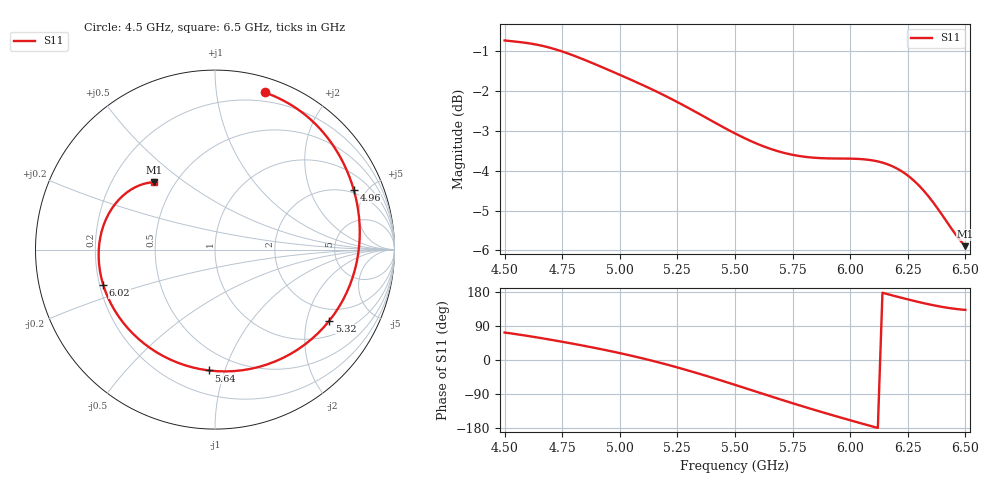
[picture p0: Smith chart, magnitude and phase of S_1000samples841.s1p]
! TOUCHSTONE file generated by CST MICROWAVE STUDIO
! Date and time: Sat Oct 29 13:54:43 2022
! Project name: L.cst
! Parameters = {Di=1.27; Epsilon_r=1.56; InnerDiameter=1.27; Length=2; Lf=10; Lg=60; OuterConductorThickness=0.2921; OuterDiameter=3.6; Wf=3; Wp=41.2; de=1.5; df=6.8; g=0.8; gx=2.17295; gy=1.41242; h=2.34; hf=1.524; px=9.63658; py=11.0431; w=9.7; wx=7.46362; wy=9.63068}
! Header version: 2018
! Port assignment regex: !\s*Touchstone port\s*([0-9]+)\s*=\s*(CST MWS port|CST DS port)\s*([0-9]+|Zmin|Zmax)\s*\(\"(.*)\"\)(\s*mode\s*([0-9]+))?.*
! Touchstone port assignment:
! Touchstone port 1 = CST MWS port 1 ("")
# GHz S DB R 50
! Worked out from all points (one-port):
!   101 points, 4.5 GHz to 6.5 GHz, reference 50 ohm
!   lowest |S11| = -5.9 dB at 6.5 GHz (marker M1), VSWR 3.06, Z = 19.2 + j19.4 ohm
!   |S11| at or under -10 dB: nowhere
!   S11 on the Smith chart (normalised r, x): 4.5 GHz: 0.12, +1.36; 4.96 GHz: 1.79, +4.10; 5.32 GHz: 1.52, -2.75; 5.64 GHz: 0.36, -0.88; 6.02 GHz: 0.21, -0.15; 6.5 GHz: 0.38, +0.39
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4.5  -0.73 72.5
4.64  -0.84 59.6
4.76  -1.03 47.0
4.86  -1.25 35.6
4.96  -1.50 23.4
5  -1.60 18.1
5.08  -1.80 7.0
5.14  -1.96 -1.9
5.2  -2.13 -11.4
5.26  -2.31 -21.4
5.32  -2.50 -31.9
5.42  -2.82 -50.3
5.5  -3.07 -65.6
5.56  -3.23 -77.3
5.64  -3.42 -92.9
5.7  -3.53 -104.5
5.76  -3.61 -115.9
5.88  -3.69 -138.0
5.94  -3.70 -148.6
6  -3.70 -159.0
6.02  -3.70 -162.5
6.08  -3.73 -172.6
6.14  -3.80 177.4
6.2  -3.94 167.8
6.26  -4.17 158.5
6.32  -4.51 149.8
6.38  -4.95 142.2
6.5  -5.89 132.2
